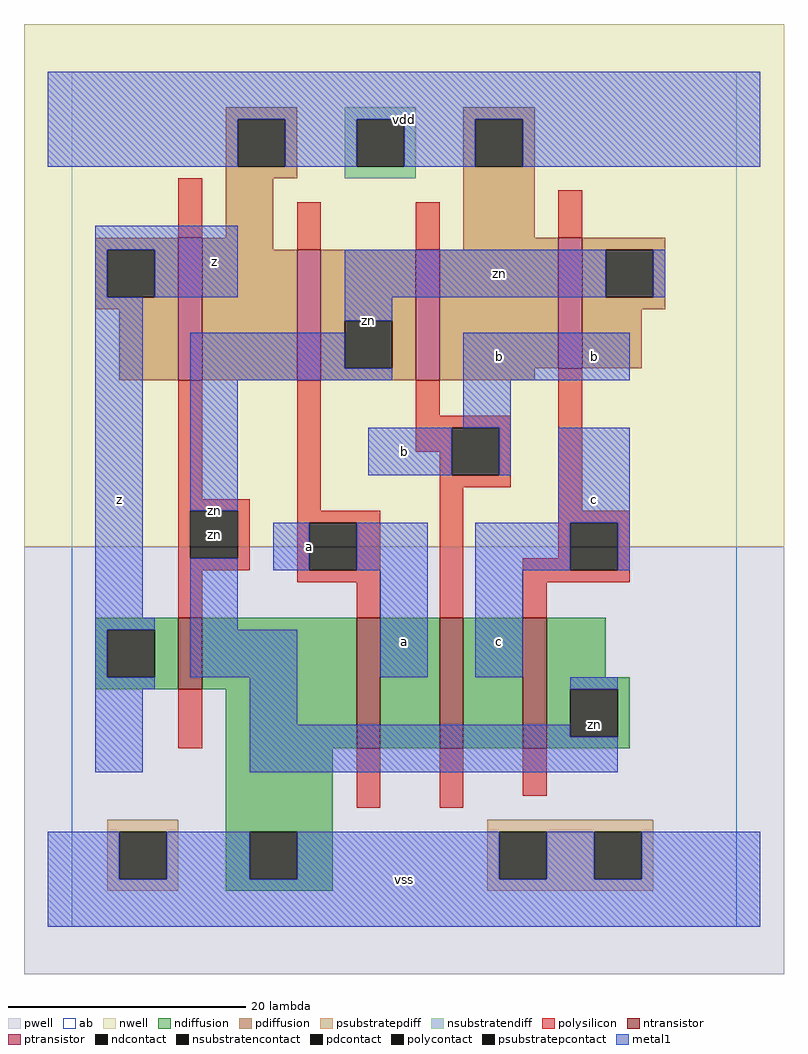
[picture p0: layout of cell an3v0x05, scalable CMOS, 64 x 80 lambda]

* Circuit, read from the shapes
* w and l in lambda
.subckt an3v0x05 a b c vdd vss z zn
M1 vss zn z vss nfet w=6 l=2
M2 n1 a vss vss nfet w=11 l=2
M3 n2 b n1 vss nfet w=11 l=2
M4 zn c n2 vss nfet w=11 l=2
M5 vdd zn z vdd pfet w=12 l=2
M6 zn a vdd vdd pfet w=11 l=2
M7 vdd b zn vdd pfet w=11 l=2
M8 zn c vdd vdd pfet w=11 l=2
.ends

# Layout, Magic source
magic
tech scmos
<< ab >>
rect 0 0 56 72
<< pwell >>
rect -4 -4 60 32
<< nwell >>
rect -4 32 60 76
<< polysilicon >>
rect 9 58 11 63
rect 19 57 21 61
rect 29 57 31 61
rect 41 58 43 62
rect 9 36 11 46
rect 9 35 15 36
rect 9 31 10 35
rect 14 31 15 35
rect 9 30 15 31
rect 19 35 21 46
rect 29 43 31 46
rect 29 42 37 43
rect 29 40 32 42
rect 31 38 32 40
rect 36 38 37 42
rect 31 37 37 38
rect 19 34 26 35
rect 19 30 20 34
rect 24 30 26 34
rect 9 26 11 30
rect 19 29 26 30
rect 24 26 26 29
rect 31 26 33 37
rect 41 35 43 47
rect 41 34 47 35
rect 41 31 42 34
rect 38 30 42 31
rect 46 30 47 34
rect 38 29 47 30
rect 38 26 40 29
rect 9 15 11 20
rect 24 10 26 15
rect 31 10 33 15
rect 38 11 40 15
<< ndiffusion >>
rect 2 25 9 26
rect 2 21 3 25
rect 7 21 9 25
rect 2 20 9 21
rect 11 20 24 26
rect 13 15 24 20
rect 26 15 31 26
rect 33 15 38 26
rect 40 21 45 26
rect 40 20 47 21
rect 40 16 42 20
rect 46 16 47 20
rect 40 15 47 16
rect 13 8 22 15
rect 13 4 15 8
rect 19 4 22 8
rect 13 3 22 4
<< pdiffusion >>
rect 13 68 19 69
rect 13 64 14 68
rect 18 64 19 68
rect 13 63 19 64
rect 33 68 39 69
rect 33 64 34 68
rect 38 64 39 68
rect 13 58 17 63
rect 2 57 9 58
rect 2 53 3 57
rect 7 53 9 57
rect 2 52 9 53
rect 4 46 9 52
rect 11 57 17 58
rect 33 58 39 64
rect 33 57 41 58
rect 11 46 19 57
rect 21 51 29 57
rect 21 47 23 51
rect 27 47 29 51
rect 21 46 29 47
rect 31 47 41 57
rect 43 57 50 58
rect 43 53 45 57
rect 49 53 50 57
rect 43 52 50 53
rect 43 47 48 52
rect 31 46 39 47
<< metal1 >>
rect -2 68 58 72
rect -2 64 14 68
rect 18 64 24 68
rect 28 64 34 68
rect 38 64 58 68
rect 2 57 14 59
rect 2 53 3 57
rect 7 53 14 57
rect 23 53 45 57
rect 49 53 50 57
rect 2 26 6 53
rect 23 51 27 53
rect 10 47 23 50
rect 10 46 27 47
rect 33 46 47 50
rect 10 35 14 46
rect 33 42 37 46
rect 25 38 32 42
rect 36 38 37 42
rect 41 34 47 42
rect 2 25 7 26
rect 2 21 3 25
rect 10 25 14 31
rect 17 30 20 34
rect 24 30 30 34
rect 10 21 19 25
rect 26 21 30 30
rect 34 30 42 34
rect 46 30 47 34
rect 34 21 38 30
rect 2 20 7 21
rect 2 13 6 20
rect 15 17 19 21
rect 42 20 46 21
rect 15 16 42 17
rect 15 13 46 16
rect -2 4 4 8
rect 8 4 15 8
rect 19 4 36 8
rect 40 4 44 8
rect 48 4 58 8
rect -2 0 58 4
<< ntransistor >>
rect 9 20 11 26
rect 24 15 26 26
rect 31 15 33 26
rect 38 15 40 26
<< ptransistor >>
rect 9 46 11 58
rect 19 46 21 57
rect 29 46 31 57
rect 41 47 43 58
<< polycontact >>
rect 10 31 14 35
rect 32 38 36 42
rect 20 30 24 34
rect 42 30 46 34
<< ndcontact >>
rect 3 21 7 25
rect 42 16 46 20
rect 15 4 19 8
<< pdcontact >>
rect 14 64 18 68
rect 34 64 38 68
rect 3 53 7 57
rect 23 47 27 51
rect 45 53 49 57
<< psubstratepcontact >>
rect 4 4 8 8
rect 36 4 40 8
rect 44 4 48 8
<< nsubstratencontact >>
rect 24 64 28 68
<< psubstratepdiff >>
rect 3 8 9 9
rect 3 4 4 8
rect 8 4 9 8
rect 3 3 9 4
rect 35 8 49 9
rect 35 4 36 8
rect 40 4 44 8
rect 48 4 49 8
rect 35 3 49 4
<< nsubstratendiff >>
rect 23 68 29 69
rect 23 64 24 68
rect 28 64 29 68
rect 23 63 29 64
<< labels >>
rlabel polycontact 12 33 12 33 6 zn
rlabel metal1 4 36 4 36 6 z
rlabel metal1 20 32 20 32 6 a
rlabel metal1 12 35 12 35 6 zn
rlabel metal1 25 51 25 51 6 zn
rlabel metal1 12 56 12 56 6 z
rlabel metal1 28 4 28 4 6 vss
rlabel metal1 28 24 28 24 6 a
rlabel metal1 36 24 36 24 6 c
rlabel metal1 28 40 28 40 6 b
rlabel metal1 36 48 36 48 6 b
rlabel metal1 28 68 28 68 6 vdd
rlabel ndcontact 44 17 44 17 6 zn
rlabel metal1 44 36 44 36 6 c
rlabel metal1 44 48 44 48 6 b
rlabel metal1 36 55 36 55 6 zn
<< end >>
